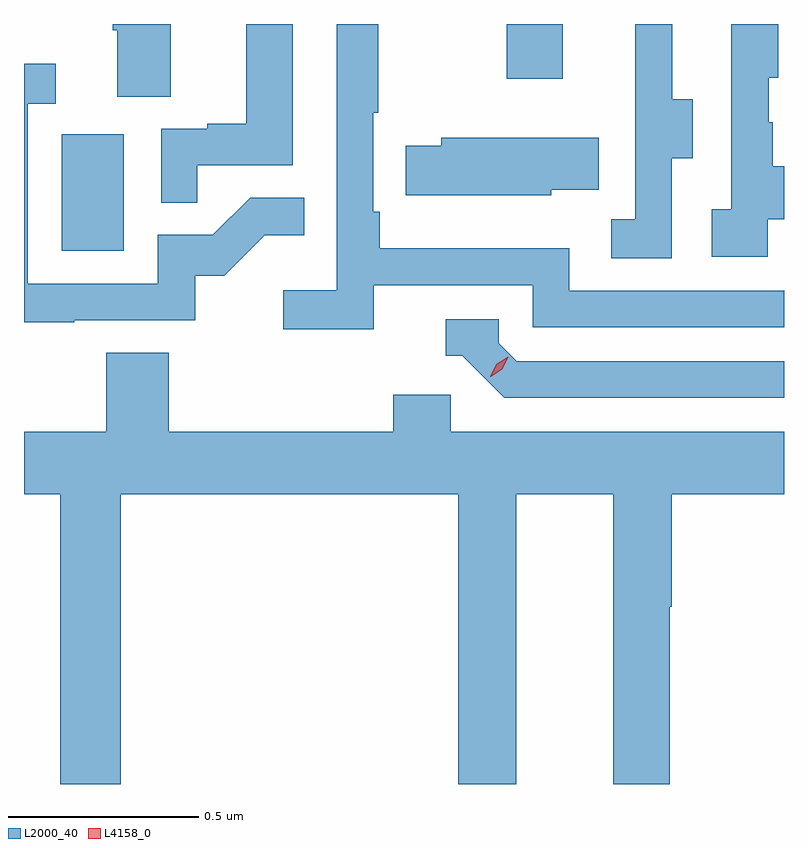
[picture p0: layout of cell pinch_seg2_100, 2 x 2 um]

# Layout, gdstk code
import gdstk
lib = gdstk.Library(unit=1e-6, precision=1e-09)
def R(c, l, rs):  # rectangles x0, y0, x1, y1
    for r in rs: c.add(gdstk.rectangle(r[:2], r[2:], *l))
def P(c, l, *ps):  # polygons
    for p in ps: c.add(gdstk.Polygon(p, *l))
L2000_40 = (2000, 40)
L4158_0 = (4158, 0)

pinch_seg2_100 = lib.new_cell('pinch_seg2_100')
R(pinch_seg2_100, L2000_40, [(1065.53,632.292,1065.694,632.599), (1066.702,632.745,1066.849,632.889)])
P(pinch_seg2_100, L2000_40, [(1067.136,632.536),(1067.191,632.536),(1067.191,632.691),(1067.137,632.691),(1067.137,632.889),(1067.039,632.889),(1067.039,632.679),(1067.04,632.679),(1067.04,632.375),(1066.977,632.375),(1066.977,632.272),(1067.136,632.272)],
  [(1067.388,632.375),(1067.431,632.375),(1067.431,632.515),(1067.401,632.515),(1067.401,632.63),(1067.391,632.63),(1067.391,632.748),(1067.416,632.748),(1067.416,632.889),(1067.292,632.889),(1067.292,632.402),(1067.241,632.402),(1067.241,632.277),(1067.388,632.277)],
  [(1065.887,632.517),(1066.138,632.517),(1066.138,632.889),(1066.016,632.889),(1066.016,632.626),(1065.913,632.626),(1065.913,632.613),(1065.792,632.613),(1065.792,632.419),(1065.887,632.419)],
  [(1065.817,632.889),(1065.665,632.889),(1065.665,632.872),(1065.677,632.872),(1065.677,632.698),(1065.817,632.698)],
  [(1066.352,632.202),(1066.77,632.202),(1066.77,632.091),(1067.431,632.091),(1067.431,632.188),(1067.43,632.187),(1066.866,632.187),(1066.866,632.299),(1066.367,632.299),(1066.367,632.395),(1066.35,632.395),(1066.35,632.656),(1066.363,632.656),(1066.363,632.889),(1066.254,632.889),(1066.254,632.188),(1066.113,632.188),(1066.113,632.086),(1066.352,632.086)],
  [(1065.563,632.109),(1065.882,632.109),(1065.882,632.226),(1065.958,632.226),(1066.065,632.333),(1066.169,632.333),(1066.169,632.432),(1066.026,632.432),(1065.928,632.334),(1065.783,632.334),(1065.783,632.205),(1065.441,632.205),(1065.441,632.679),(1065.514,632.679),(1065.514,632.785),(1065.431,632.785),(1065.431,632.104),(1065.563,632.104)],
  [(1066.818,632.453),(1066.943,632.453),(1066.943,632.59),(1066.529,632.59),(1066.529,632.568),(1066.435,632.568),(1066.435,632.439),(1066.546,632.439),(1066.546,632.438),(1066.818,632.438)],
  [(1067.431,632.001),(1066.728,632.001),(1066.68,632.049),(1066.68,632.112),(1066.541,632.112),(1066.541,632.016),(1066.584,632.016),(1066.695,631.905),(1067.431,631.905)],
  [(1065.686,631.652),(1066.574,631.652),(1066.574,630.889),(1066.726,630.889),(1066.726,631.652),(1066.982,631.652),(1066.982,630.889),(1067.13,630.889),(1067.13,631.356),(1067.135,631.356),(1067.135,631.652),(1067.431,631.652),(1067.431,631.816),(1066.554,631.816),(1066.554,631.914),(1066.403,631.914),(1066.403,631.816),(1065.812,631.816),(1065.812,632.024),(1065.647,632.024),(1065.647,631.816),(1065.431,631.816),(1065.431,631.652),(1065.526,631.652),(1065.526,630.889),(1065.686,630.889)])
P(pinch_seg2_100, L4158_0, [(1066.658,631.961),(1066.658,631.962),(1066.674,631.994),(1066.705,632.014),(1066.705,632.014),(1066.705,632.013),(1066.689,631.981),(1066.659,631.961)])

lib.write_gds('pinch_seg2_100.gds')
